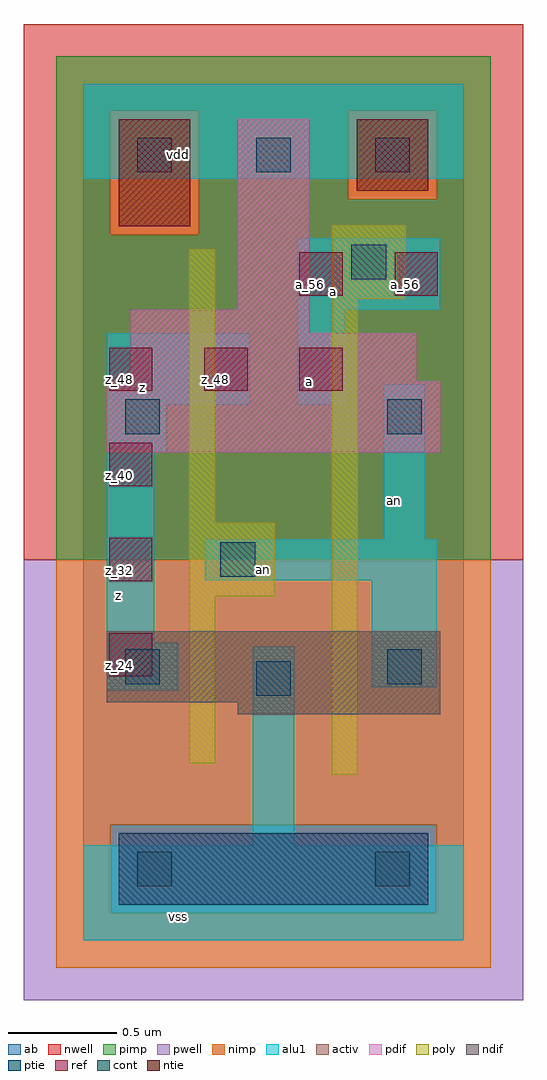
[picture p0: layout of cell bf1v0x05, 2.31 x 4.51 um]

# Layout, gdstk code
import gdstk
lib = gdstk.Library(unit=1e-6, precision=2.5e-09)
def R(c, l, rs):  # rectangles x0, y0, x1, y1
    for r in rs: c.add(gdstk.rectangle(r[:2], r[2:], *l))
def A(c, l, x, y, w, h, nx, ny, dx, dy):  # array of equal rectangles
    R(c, l, [(x+i*dx, y+j*dy, x+i*dx+w, y+j*dy+h) for i in range(nx) for j in range(ny)])
ndif = (3, 0)
pdif = (4, 0)
ntie = (5, 0)
ptie = (6, 0)
ref = (24, 0)
cont = (25, 0)
pwell = (41, 0)
nwell = (42, 0)
activ = (43, 0)
pimp = (44, 0)
nimp = (45, 0)
poly = (46, 0)
alu1 = (49, 0)
ab = (63, 0)

bf1v0x05 = lib.new_cell('bf1v0x05')
R(bf1v0x05, ndif, [(0.715,1.045,1.65,1.1), (0.11,1.1,1.65,1.43)])
R(bf1v0x05, pdif, [(0.11,2.255,1.65,2.585), (0.22,2.585,1.54,2.805), (0.22,2.805,1.045,2.915), (0.715,2.915,1.045,3.795)])
R(bf1v0x05, ntie, [(0.165,3.3,0.495,3.795), (1.265,3.465,1.595,3.795)])
R(bf1v0x05, ptie, [(0.165,0.165,1.595,0.495)])
A(bf1v0x05, ref, 0.12, 1.22, 0.2, 0.2, 1, 3, 0, 0.44)
A(bf1v0x05, ref, 0.12, 2.54, 0.2, 0.2, 3, 1, 0.44, 0)
R(bf1v0x05, ref, [(1,2.98,1.2,3.18), (1.44,2.98,1.64,3.18)])
A(bf1v0x05, cont, 0.25, 3.55, 0.16, 0.16, 3, 1, 0.55, 0)
R(bf1v0x05, cont, [(0.25,0.25,0.41,0.41), (1.35,0.25,1.51,0.41), (0.8,1.13,0.96,1.29), (0.195,1.185,0.355,1.345), (1.405,1.185,1.565,1.345), (0.635,1.68,0.795,1.84), (0.195,2.34,0.355,2.5), (1.405,2.34,1.565,2.5), (1.24,3.055,1.4,3.215)])
R(bf1v0x05, pwell, [(-0.275,-0.275,2.035,1.76)])
R(bf1v0x05, nwell, [(-0.275,1.76,2.035,4.235)])
R(bf1v0x05, activ, [(0.165,0.165,1.595,0.495), (0.715,1.045,1.65,1.1), (0.11,1.1,1.65,1.43), (0.11,2.255,1.65,2.585), (0.22,2.585,1.54,2.805), (0.22,2.805,1.045,2.915), (0.715,2.915,1.045,3.795), (0.165,3.3,0.495,3.795), (1.265,3.465,1.595,3.795)])
R(bf1v0x05, pimp, [(0.125,0.125,1.635,0.535), (-0.125,1.76,1.885,3.26), (-0.125,3.26,0.125,3.835), (0.535,3.26,1.885,3.425), (0.535,3.425,1.225,3.835), (1.635,3.425,1.885,3.835), (-0.125,3.835,1.885,4.085)])
R(bf1v0x05, nimp, [(-0.125,-0.125,1.885,0.125), (-0.125,0.125,0.125,0.535), (1.635,0.125,1.885,0.535), (-0.125,0.535,1.885,1.76), (0.125,3.26,0.535,3.835), (1.225,3.425,1.635,3.835)])
R(bf1v0x05, poly, [(1.15,0.765,1.27,2.965), (0.49,0.82,0.61,1.59), (0.49,1.59,0.885,1.93), (0.49,1.93,0.61,3.195), (1.15,2.965,1.49,3.305)])
R(bf1v0x05, alu1, [(0,0,1.76,0.44), (0.785,0.44,0.975,1.36), (0.11,1.155,0.44,1.375), (1.335,1.17,1.635,1.665), (0.11,1.375,0.33,2.255), (0.565,1.665,1.635,1.855), (1.39,1.855,1.58,2.57), (0.11,2.255,0.385,2.475), (0.11,2.475,0.77,2.805), (0.99,2.475,1.21,2.915), (0.99,2.915,1.65,3.245), (0,3.52,1.76,3.96)])
R(bf1v0x05, ab, [(0,0,1.76,3.96)])
bf1v0x05.add(gdstk.Label('vss', (0.44,0.11), layer=49, texttype=0))
bf1v0x05.add(gdstk.Label('an', (0.8325,1.7125), layer=49, texttype=0))
bf1v0x05.add(gdstk.Label('an', (1.4375,2.0325), layer=49, texttype=0))
bf1v0x05.add(gdstk.Label('z', (0.165,1.595), layer=49, texttype=0))
bf1v0x05.add(gdstk.Label('a', (1.045,2.585), layer=49, texttype=0))
bf1v0x05.add(gdstk.Label('z', (0.275,2.5575), layer=49, texttype=0))
bf1v0x05.add(gdstk.Label('a', (1.155,2.9975), layer=49, texttype=0))
bf1v0x05.add(gdstk.Label('vdd', (0.44,3.63), layer=49, texttype=0))
bf1v0x05.add(gdstk.Label('z_48', (0.61,2.59), layer=24, texttype=0))
bf1v0x05.add(gdstk.Label('a_48', (1.05,2.59), layer=24, texttype=0))
bf1v0x05.add(gdstk.Label('a_56', (1.05,3.03), layer=24, texttype=0))
bf1v0x05.add(gdstk.Label('a_56', (1.49,3.03), layer=24, texttype=0))
bf1v0x05.add(gdstk.Label('z_24', (0.17,1.27), layer=24, texttype=0))
bf1v0x05.add(gdstk.Label('z_32', (0.17,1.71), layer=24, texttype=0))
bf1v0x05.add(gdstk.Label('z_40', (0.17,2.15), layer=24, texttype=0))
bf1v0x05.add(gdstk.Label('z_48', (0.17,2.59), layer=24, texttype=0))

lib.write_gds('bf1v0x05.gds')
